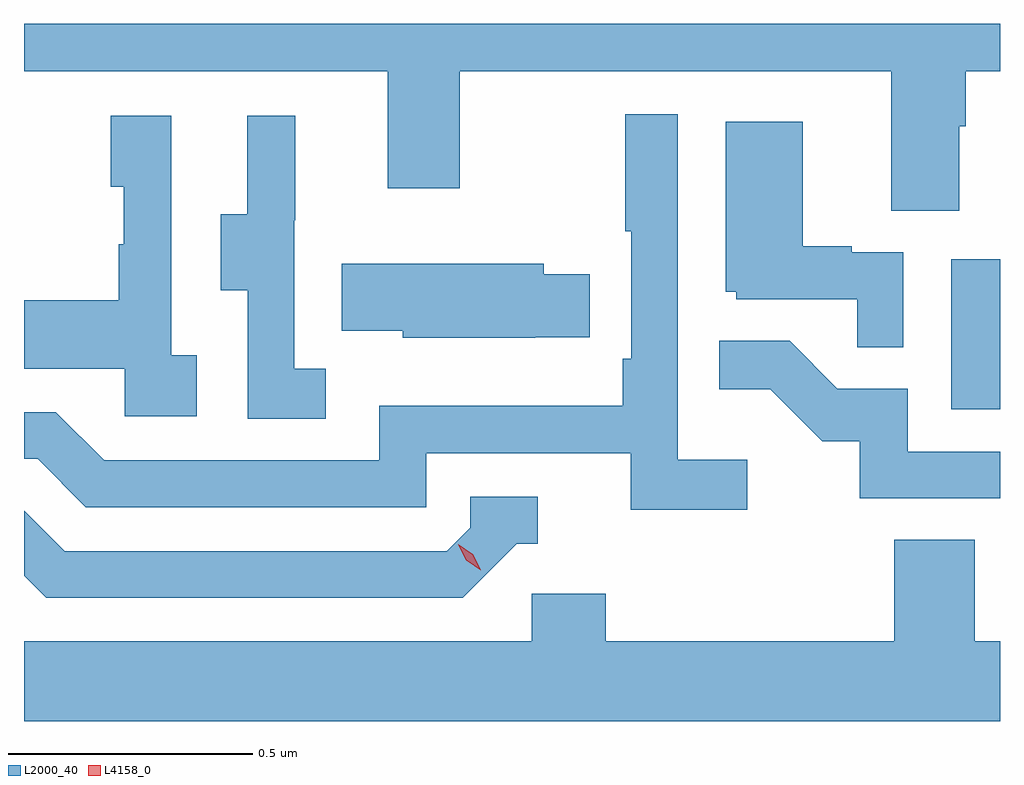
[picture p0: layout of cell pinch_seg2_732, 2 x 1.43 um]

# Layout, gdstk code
import gdstk
lib = gdstk.Library(unit=1e-6, precision=1e-09)
def R(c, l, rs):  # rectangles x0, y0, x1, y1
    for r in rs: c.add(gdstk.rectangle(r[:2], r[2:], *l))
def P(c, l, *ps):  # polygons
    for p in ps: c.add(gdstk.Polygon(p, *l))
L2000_40 = (2000, 40)
L4158_0 = (4158, 0)

pinch_seg2_732 = lib.new_cell('pinch_seg2_732')
R(pinch_seg2_732, L2000_40, [(1131.506,597.66,1131.606,597.967)])
P(pinch_seg2_732, L2000_40, [(1131.523,598.24),(1131.536,598.24),(1131.536,598.352),(1131.606,598.352),(1131.606,598.45),(1129.606,598.45),(1129.606,598.352),(1130.351,598.352),(1130.351,598.113),(1130.499,598.113),(1130.499,598.352),(1131.383,598.352),(1131.383,598.066),(1131.523,598.066)],
  [(1131.088,597.556),(1130.946,597.556),(1130.946,598.264),(1130.838,598.264),(1130.838,598.024),(1130.85,598.024),(1130.85,597.763),(1130.833,597.763),(1130.833,597.667),(1130.334,597.667),(1130.334,597.555),(1129.77,597.555),(1129.671,597.654),(1129.606,597.654),(1129.606,597.558),(1129.634,597.558),(1129.733,597.459),(1130.43,597.459),(1130.43,597.57),(1130.849,597.57),(1130.849,597.454),(1131.088,597.454)],
  [(1129.96,597.77),(1129.908,597.77),(1129.908,598.261),(1129.784,598.261),(1129.784,598.116),(1129.81,598.116),(1129.81,597.998),(1129.8,597.998),(1129.8,597.883),(1129.606,597.883),(1129.606,597.743),(1129.812,597.743),(1129.812,597.645),(1129.96,597.645)],
  [(1130.224,597.743),(1130.16,597.743),(1130.16,598.047),(1130.162,598.047),(1130.162,598.261),(1130.063,598.261),(1130.063,598.059),(1130.009,598.059),(1130.009,597.904),(1130.064,597.904),(1130.064,597.64),(1130.224,597.64)],
  [(1131.408,597.981),(1131.302,597.981),(1131.302,597.994),(1131.202,597.994),(1131.202,598.249),(1131.044,598.249),(1131.044,597.9),(1131.066,597.9),(1131.066,597.885),(1131.313,597.885),(1131.313,597.787),(1131.408,597.787)],
  [(1130.654,597.807),(1130.765,597.807),(1130.765,597.936),(1130.671,597.936),(1130.671,597.958),(1130.257,597.958),(1130.257,597.821),(1130.382,597.821),(1130.382,597.806),(1130.654,597.806)],
  [(1131.606,597.573),(1131.417,597.573),(1131.417,597.702),(1131.273,597.702),(1131.175,597.8),(1131.031,597.8),(1131.031,597.701),(1131.135,597.701),(1131.242,597.594),(1131.319,597.594),(1131.319,597.477),(1131.606,597.477)],
  [(1130.616,597.384),(1130.659,597.384),(1130.659,597.48),(1130.52,597.48),(1130.52,597.417),(1130.472,597.369),(1129.689,597.369),(1129.606,597.452),(1129.606,597.319),(1129.652,597.273),(1130.505,597.273)],
  [(1131.606,597.184),(1131.554,597.184),(1131.554,597.392),(1131.389,597.392),(1131.389,597.184),(1130.798,597.184),(1130.798,597.282),(1130.646,597.282),(1130.646,597.184),(1129.606,597.184),(1129.606,597.02),(1131.606,597.02)])
P(pinch_seg2_732, L4158_0, [(1130.542,597.33),(1130.512,597.35),(1130.496,597.382),(1130.496,597.383),(1130.496,597.383),(1130.526,597.363),(1130.542,597.331),(1130.542,597.33)])

lib.write_gds('pinch_seg2_732.gds')
